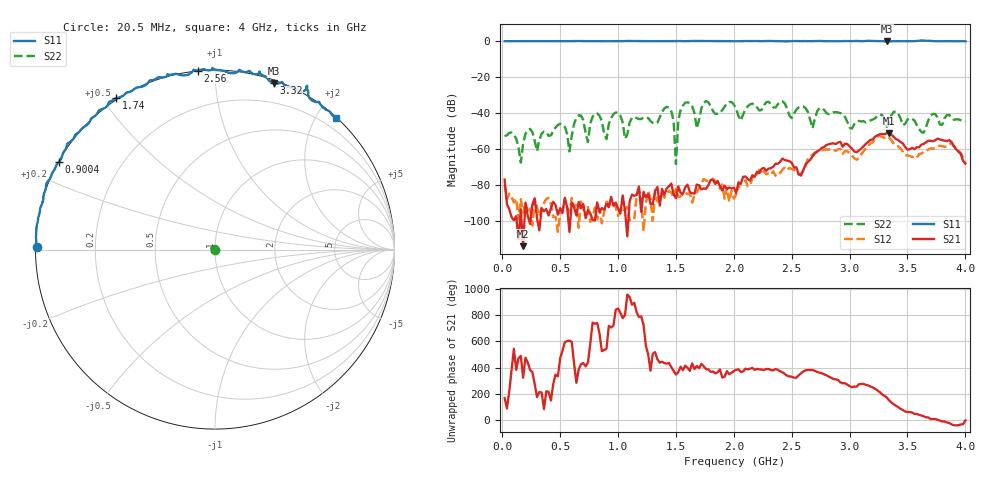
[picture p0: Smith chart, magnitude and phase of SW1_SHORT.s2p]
# Hz S DB R 50
! CMT, S5180, 51801906, 22.3.3/1
! Date: 27/01/2023 17:16:25
! Data: Format (Calibration Info)
! Freq	S11:dB/Ang(F2)	S21:dB/Ang(F2)	S12:dB/Ang(F2)	S22:dB/Ang(F2)
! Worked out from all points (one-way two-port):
!   200 points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, 20.5 MHz to 4 GHz, reference 50 ohm
!   highest |S21| = -51.05 dB at 3.34 GHz (marker M1); lowest = -113.9 dB at 180.5 MHz (marker M2)
!   lowest |S11| = -0.2 dB at 3.32 GHz (marker M3), VSWR 115.27, Z = 1.3 + j70.6 ohm
!   |S11| at or under -10 dB: nowhere
!   |S22| runs from -68.3 to -33.3 dB; largest |S21 - S12| = 0.0021
!   S11 on the Smith chart (normalised r, x): 20.5 MHz: 0.00, +0.01; 900.4 MHz: 0.00, +0.26; 1.74 GHz: -0.01, +0.54; 2.56 GHz: -0.00, +0.91; 3.32 GHz: 0.03, +1.41; 4 GHz: 0.01, +2.27
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2.04975e7  -0.07 179.2  -76.82 168.8  -79.82 157.1  -52.69 -81.5
1.6048e8  -0.00 174.7  -93.41 128.7  -87.79 124.8  -67.42 0.6
1.804775e8  0.00 174.0  -113.87 -37.3  -95.38 -80.8  -56.74 96.4
5.004375e8  -0.02 163.3  -92.78 112.6  -95.69 67.4  -45.89 62.3
5.804275e8  0.01 160.8  -105.97 -114.2  -95.17 127.7  -61.24 125.3
7.004125e8  0.02 157.0  -90.58 73.7  -93.71 40.5  -43.92 -116.6
9.003875e8  -0.03 150.6  -90.30 -176.9  -89.10 130.1  -54.38 -175.7
9.803775e8  0.03 147.6  -89.66 120.7  -92.33 150.8  -39.60 14.8
1.060368e9  0.08 144.9  -94.13 80.3  -93.66 91.8  -54.17 145.6
1.36033e9  -0.04 135.0  -91.36 77.9  -87.10 116.0  -42.22 -143.1
1.460318e9  0.01 132.0  -79.07 42.3  -84.17 5.2  -38.99 1.3
1.500312e9  0.05 130.4  -87.19 -13.2  -81.97 37.5  -68.26 3.1
1.540308e9  0.07 129.4  -84.36 46.6  -86.22 -42.2  -38.31 -30.2
1.68029e9  0.08 124.8  -79.66 52.2  -84.00 55.0  -48.42 132.0
1.740282e9  0.07 123.1  -81.82 49.2  -76.60 18.9  -34.24 104.5
2.020248e9  -0.05 113.1  -84.36 23.0  -85.12 16.6  -37.61 -50.3
2.56018e9  0.02 95.5  -73.93 -18.7  -74.19 -30.3  -36.77 -126.9
2.680165e9  0.00 91.3  -63.98 21.3  -63.05 -21.6  -48.42 -15.3
2.760155e9  0.05 90.3  -59.24 -4.0  -60.56 -46.2  -37.09 37.8
3.320085e9  -0.15 70.6  -51.20 173.0  -52.95 125.8  -47.63 80.4
3.340082e9  -0.11 69.4  -51.05 151.5  -53.44 104.0  -46.04 47.9
4e9  -0.03 47.6  -67.98 -2.2  -67.50 -69.2  -44.65 145.1
